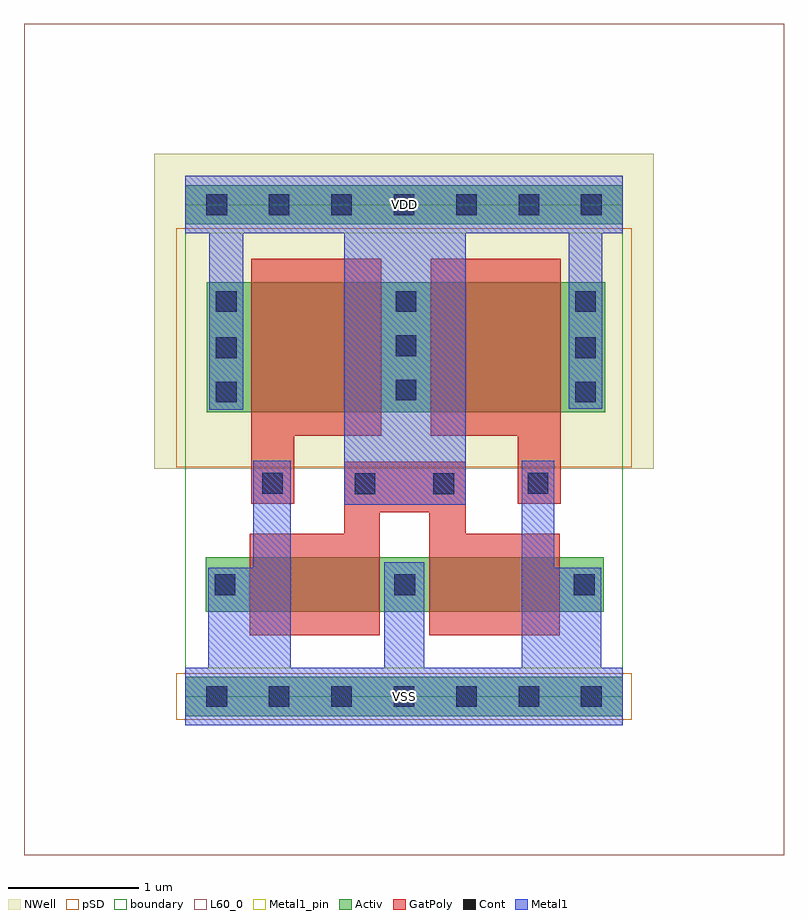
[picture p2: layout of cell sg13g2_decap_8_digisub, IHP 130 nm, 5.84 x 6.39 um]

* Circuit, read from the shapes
.subckt sg13g2_decap_8_digisub VDD VSS
XM1 VSS VDD VSS VSS sg13_lv_nmos w=0.42u l=1u m=2
XM2 VDD VSS VDD VDD sg13_lv_pmos w=1u l=1u m=2
.ends

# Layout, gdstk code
import gdstk
lib = gdstk.Library(unit=1e-6, precision=1e-09)
def R(c, l, rs):  # rectangles x0, y0, x1, y1
    for r in rs: c.add(gdstk.rectangle(r[:2], r[2:], *l))
def A(c, l, x, y, w, h, nx, ny, dx, dy):  # array of equal rectangles
    R(c, l, [(x+i*dx, y+j*dy, x+i*dx+w, y+j*dy+h) for i in range(nx) for j in range(ny)])
def P(c, l, *ps):  # polygons
    for p in ps: c.add(gdstk.Polygon(p, *l))
Activ = (1, 0)
GatPoly = (5, 0)
Cont = (6, 0)
Metal1 = (8, 0)
Metal1_pin = (8, 2)
pSD = (14, 0)
NWell = (31, 0)
L60_0 = (60, 0)
boundary = (189, 4)

sg13g2_decap_8_digisub = lib.new_cell('sg13g2_decap_8_digisub')
R(sg13g2_decap_8_digisub, Activ, [(0,-0.15,3.36,0.15), (0.155,0.65,3.215,1.07), (0.165,2.185,3.225,3.185), (0,3.63,3.36,3.93)])
P(sg13g2_decap_8_digisub, GatPoly, [(2.875,1.25),(2.155,1.25),(2.155,1.805),(1.22,1.805),(1.22,1.25),(0.495,1.25),(0.495,0.47),(1.495,0.47),(1.495,1.415),(1.875,1.415),(1.875,0.47),(2.875,0.47)],
  [(2.885,3.365),(1.885,3.365),(1.885,2.005),(2.555,2.005),(2.555,1.48),(2.885,1.48)],
  [(1.505,3.365),(0.505,3.365),(0.505,1.48),(0.835,1.48),(0.835,2.005),(1.505,2.005)])
A(sg13g2_decap_8_digisub, Cont, 0.16, -0.08, 0.16, 0.16, 7, 2, 0.48, 3.78)
A(sg13g2_decap_8_digisub, Cont, 0.225, 0.78, 0.16, 0.16, 3, 1, 1.38, 0)
A(sg13g2_decap_8_digisub, Cont, 0.235, 2.955, 0.16, 0.16, 3, 1, 1.38, 0)
R(sg13g2_decap_8_digisub, Cont, [(1.3,1.555,1.46,1.715), (1.905,1.555,2.065,1.715), (0.59,1.56,0.75,1.72), (2.63,1.56,2.79,1.72), (0.235,2.26,0.395,2.42), (2.995,2.26,3.155,2.42), (1.615,2.275,1.775,2.435), (0.235,2.6,0.395,2.76), (2.995,2.6,3.155,2.76), (1.615,2.615,1.775,2.775)])
P(sg13g2_decap_8_digisub, Metal1, [(3.36,0.22),(3.195,0.22),(3.195,0.99),(2.835,0.99),(2.835,1.81),(2.585,1.81),(2.585,0.22),(1.835,0.22),(1.835,1.03),(1.53,1.03),(1.53,0.22),(0.81,0.22),(0.81,1.81),(0.52,1.81),(0.52,0.99),(0.175,0.99),(0.175,0.22),(0,0.22),(0,-0.22),(3.36,-0.22)],
  [(3.36,4),(0,4),(0,3.56),(0.185,3.56),(0.185,2.205),(0.445,2.205),(0.445,3.56),(1.22,3.56),(1.22,1.475),(2.155,1.475),(2.155,3.56),(2.945,3.56),(2.945,2.21),(3.205,2.21),(3.205,3.56),(3.36,3.56)])
R(sg13g2_decap_8_digisub, Metal1_pin, [(0,-0.22,3.36,0.22), (0,3.56,3.36,4)])
R(sg13g2_decap_8_digisub, pSD, [(-0.07,-0.18,3.43,0.18), (-0.07,1.76,3.43,3.6)])
R(sg13g2_decap_8_digisub, NWell, [(-0.24,1.75,3.6,4.17)])
R(sg13g2_decap_8_digisub, L60_0, [(-1.24,-1.22,4.6,5.17)])
R(sg13g2_decap_8_digisub, boundary, [(0,0,3.36,3.78)])
sg13g2_decap_8_digisub.add(gdstk.Label('VDD', (1.68,3.78), layer=8, texttype=25))
sg13g2_decap_8_digisub.add(gdstk.Label('VSS', (1.68,0), layer=8, texttype=25))

lib.write_gds('sg13g2_decap_8_digisub.gds')
